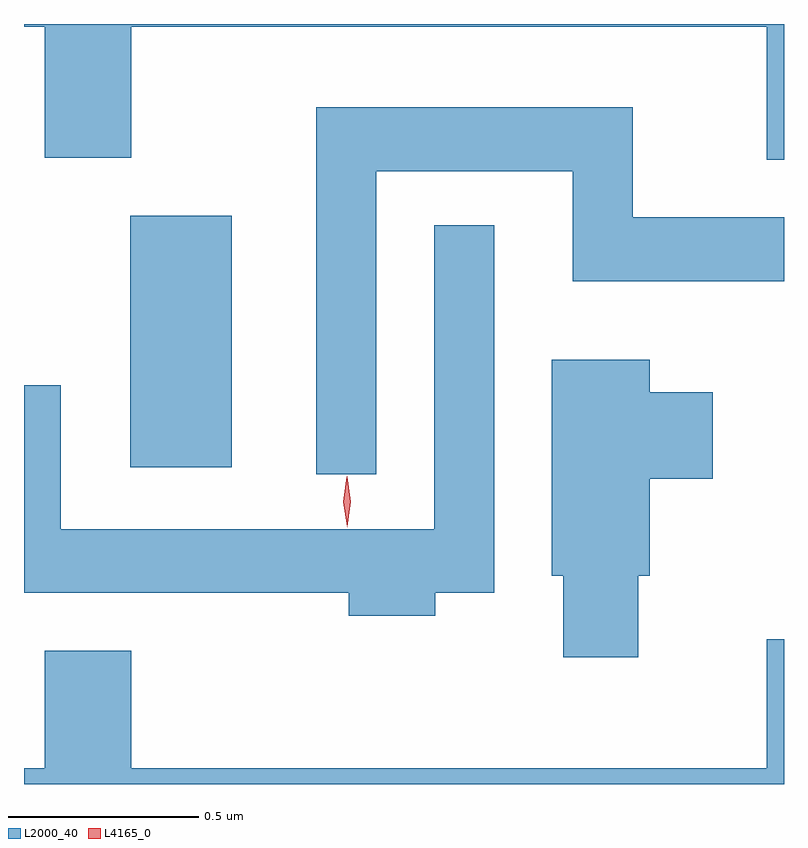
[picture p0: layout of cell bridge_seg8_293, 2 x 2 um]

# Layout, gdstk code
import gdstk
lib = gdstk.Library(unit=1e-6, precision=1e-09)
def R(c, l, rs):  # rectangles x0, y0, x1, y1
    for r in rs: c.add(gdstk.rectangle(r[:2], r[2:], *l))
def P(c, l, *ps):  # polygons
    for p in ps: c.add(gdstk.Polygon(p, *l))
L2000_40 = (2000, 40)
L4165_0 = (4165, 0)

bridge_seg8_293 = lib.new_cell('bridge_seg8_293')
R(bridge_seg8_293, L2000_40, [(1318.976,1810.836,1319.244,1811.499)])
P(bridge_seg8_293, L2000_40, [(1320.697,1812.003),(1318.697,1812.003),(1318.697,1811.996),(1318.751,1811.996),(1318.751,1811.651),(1318.979,1811.651),(1318.979,1811.996),(1320.651,1811.996),(1320.651,1811.646),(1320.697,1811.646)],
  [(1319.624,1811.616),(1320.141,1811.616),(1320.141,1811.326),(1320.697,1811.326),(1320.697,1811.494),(1320.299,1811.494),(1320.299,1811.784),(1319.466,1811.784),(1319.466,1810.818),(1319.624,1810.818)],
  [(1319.779,1810.506),(1319.934,1810.506),(1319.934,1811.473),(1319.776,1811.473),(1319.776,1810.674),(1318.794,1810.674),(1318.794,1811.053),(1318.697,1811.053),(1318.697,1810.506),(1319.551,1810.506),(1319.551,1810.446),(1319.779,1810.446)],
  [(1320.314,1810.551),(1320.344,1810.551),(1320.344,1810.806),(1320.509,1810.806),(1320.509,1811.034),(1320.344,1811.034),(1320.344,1811.119),(1320.086,1811.119),(1320.086,1810.551),(1320.116,1810.551),(1320.116,1810.336),(1320.314,1810.336)],
  [(1320.697,1810.384),(1320.651,1810.384),(1320.651,1810.044),(1318.979,1810.044),(1318.979,1810.354),(1318.751,1810.354),(1318.751,1810.044),(1318.697,1810.044),(1318.697,1810.003),(1320.697,1810.003)])
P(bridge_seg8_293, L4165_0, [(1319.547,1810.679),(1319.547,1810.68),(1319.537,1810.746),(1319.546,1810.812),(1319.547,1810.813),(1319.547,1810.812),(1319.557,1810.746),(1319.548,1810.68)])

lib.write_gds('bridge_seg8_293.gds')
